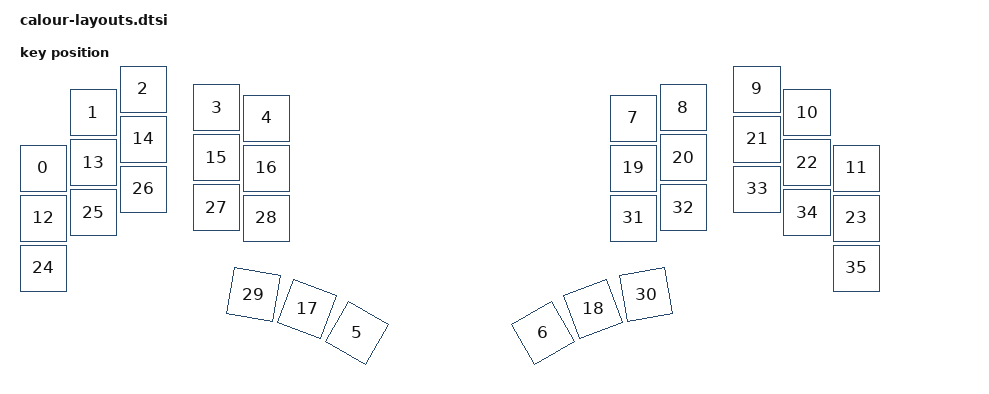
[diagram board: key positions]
// See https://zmk.dev/docs/development/hardware-integration/physical-layouts
// for how to configure this.

#include <physical_layouts.dtsi>

/ {
    default_layout: default_layout {
        compatible = "zmk,physical-layout";
        display-name = "Default Layout";
        transform = <&default_transform>;
        kscan = <&kscan>;

    }        keys  //                     w   h    x    y     rot    rx    ry
            = <&key_physical_attrs 100 100    0  158       0     0     0>
            , <&key_physical_attrs 100 100  100   47       0     0     0>
            , <&key_physical_attrs 100 100  200    0       0     0     0>
            , <&key_physical_attrs 100 100  347   37       0     0     0>
            , <&key_physical_attrs 100 100  447   58       0     0     0>
            , <&key_physical_attrs 100 100  628  488    3000   678   538>
            , <&key_physical_attrs 100 100 1000  488 (-3000)  1050   538>
            , <&key_physical_attrs 100 100 1180   58       0     0     0>
            , <&key_physical_attrs 100 100 1280   37       0     0     0>
            , <&key_physical_attrs 100 100 1428    0       0     0     0>
            , <&key_physical_attrs 100 100 1528   47       0     0     0>
            , <&key_physical_attrs 100 100 1627  158       0     0     0>
            , <&key_physical_attrs 100 100    0  258       0     0     0>
            , <&key_physical_attrs 100 100  100  147       0     0     0>
            , <&key_physical_attrs 100 100  200  100       0     0     0>
            , <&key_physical_attrs 100 100  347  137       0     0     0>
            , <&key_physical_attrs 100 100  447  158       0     0     0>
            , <&key_physical_attrs 100 100  528  440    2050   578   490>
            , <&key_physical_attrs 100 100 1100  440 (-2050)  1150   490>
            , <&key_physical_attrs 100 100 1180  158       0     0     0>
            , <&key_physical_attrs 100 100 1280  137       0     0     0>
            , <&key_physical_attrs 100 100 1428  100       0     0     0>
            , <&key_physical_attrs 100 100 1528  147       0     0     0>
            , <&key_physical_attrs 100 100 1627  258       0     0     0>
            , <&key_physical_attrs 100 100    0  358       0     0     0>
            , <&key_physical_attrs 100 100  100  247       0     0     0>
            , <&key_physical_attrs 100 100  200  200       0     0     0>
            , <&key_physical_attrs 100 100  347  237       0     0     0>
            , <&key_physical_attrs 100 100  447  258       0     0     0>
            , <&key_physical_attrs 100 100  421  411    1000   471   461>
            , <&key_physical_attrs 100 100 1206  411 (-1000)  1256   461>
            , <&key_physical_attrs 100 100 1180  258       0     0     0>
            , <&key_physical_attrs 100 100 1280  237       0     0     0>
            , <&key_physical_attrs 100 100 1428  200       0     0     0>
            , <&key_physical_attrs 100 100 1528  247       0     0     0>
            , <&key_physical_attrs 100 100 1627  358       0     0     0>
            ;
;
};
